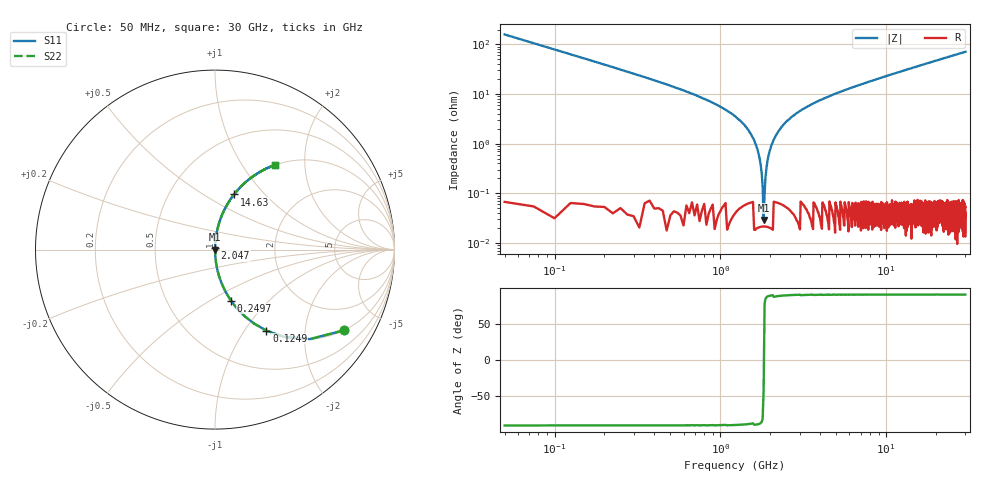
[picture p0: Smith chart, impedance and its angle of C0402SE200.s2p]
!	AVX Thin Film Operation 	Date: April 2014
!	Description: Accu-P® Series, Thin Film  SMD RF Capacitor
!	Part Number: 04023K200FBSTR
# MHZ S MA R 50
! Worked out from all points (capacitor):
!   1201 points, 50 MHz to 30 GHz, reference 50 ohm
!   read as one part in series: C = 20 pF near 199.8 MHz
!   lowest |Z| = 29 mohm at 1.822 GHz (marker M1)
!   series resonance near 1.826 GHz, so ESL is about 380 pH
!   S11 on the Smith chart (normalised r, x): 50 MHz: 1.00, -3.18; 124.9 MHz: 1.00, -1.27; 249.7 MHz: 1.00, -0.62; 2.047 GHz: 1.00, +0.02; 14.63 GHz: 1.00, +0.69; 30 GHz: 1.00, +1.43
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50  0.846 -32.2  0.532 57.8  0.532 57.8  0.846 -32.2
124.875  0.535 -57.6  0.844 32.4  0.844 32.4  0.535 -57.6
249.667  0.298 -72.6  0.954 17.4  0.954 17.4  0.298 -72.6
374.458  0.199 -78.4  0.979 11.5  0.979 11.5  0.199 -78.4
599.083  0.118 -83.0  0.993 6.8  0.993 6.8  0.118 -83.0
1397.75  0.024 -87.6  0.999 1.4  0.999 1.4  0.024 -87.6
1597.417  0.012 -87.2  1 0.7  1 0.7  0.012 -87.2
1722.208  0.005127 -84.9  1 0.3  1 0.3  0.005127 -84.9
1822.042  0.0004731 -24.7  1 0.0  1 0.0  0.0004731 -24.7
1946.833  0.005594 85.3  1 -0.3  1 -0.3  0.005594 85.3
2046.667  0.00996 87.0  1 -0.6  1 -0.6  0.00996 87.0
2171.458  0.015 87.5  0.999 -0.9  0.999 -0.9  0.015 87.5
2346.167  0.022 87.6  0.999 -1.3  0.999 -1.3  0.022 87.6
2870.292  0.041 87.1  0.999 -2.3  0.999 -2.3  0.041 87.1
3793.75  0.069 85.7  0.997 -4.0  0.997 -4.0  0.069 85.7
5041.667  0.104 83.8  0.994 -6.0  0.994 -6.0  0.104 83.8
10058.29  0.226 76.8  0.974 -13.1  0.974 -13.1  0.226 76.8
14625.67  0.325 71.0  0.945 -19.0  0.945 -19.0  0.325 71.0
15025  0.333 70.5  0.943 -19.4  0.943 -19.4  0.333 70.5
20016.67  0.428 64.6  0.903 -25.3  0.903 -25.3  0.428 64.6
25033.29  0.511 59.3  0.859 -30.7  0.859 -30.7  0.511 59.3
30000  0.58 54.5  0.814 -35.5  0.814 -35.5  0.58 54.5
